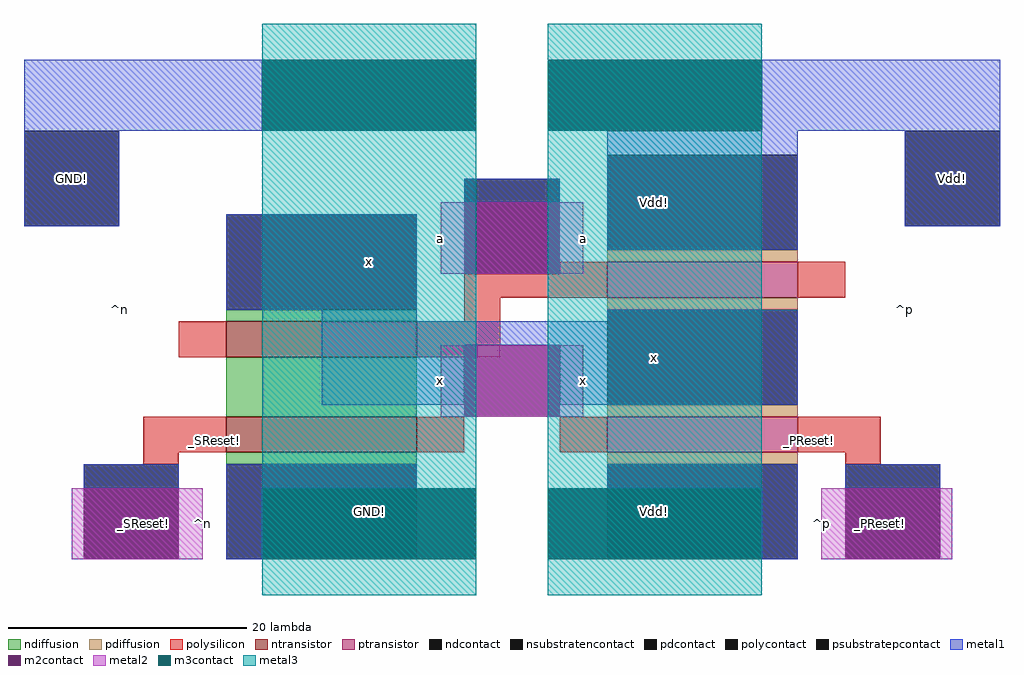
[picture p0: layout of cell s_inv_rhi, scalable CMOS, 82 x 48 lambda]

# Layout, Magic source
magic
tech scmos
<< ndiffusion >>
rect -24 4 -8 5
rect -24 -4 -8 1
rect -24 -8 -8 -7
<< pdiffusion >>
rect 8 9 24 10
rect 8 5 24 6
rect 8 -4 24 -3
rect 8 -8 24 -7
<< ntransistor >>
rect -24 1 -8 4
rect -24 -7 -8 -4
<< ptransistor >>
rect 8 6 24 9
rect 8 -7 24 -4
<< polysilicon >>
rect 4 8 8 9
rect -4 6 8 8
rect 24 6 28 9
rect -4 4 -1 6
rect -28 1 -24 4
rect -8 1 -1 4
rect -31 -7 -24 -4
rect -8 -7 -4 -4
rect 4 -7 8 -4
rect 24 -7 31 -4
rect -31 -8 -28 -7
rect 28 -8 31 -7
<< ndcontact >>
rect -24 5 -8 13
rect -24 -16 -8 -8
<< pdcontact >>
rect 8 10 24 18
rect 8 -3 24 5
rect 8 -16 24 -8
<< psubstratepcontact >>
rect -41 12 -33 20
<< nsubstratencontact >>
rect 33 12 41 20
<< polycontact >>
rect -4 8 4 16
rect -36 -16 -28 -8
rect 28 -16 36 -8
<< metal1 >>
rect -41 20 -21 26
rect 21 20 41 26
rect -41 12 -33 20
rect -4 14 4 16
rect -24 5 -8 13
rect 8 10 24 20
rect 33 12 41 20
rect -16 4 -8 5
rect 8 4 24 5
rect -16 2 24 4
rect -16 -3 -4 2
rect 4 -3 24 2
rect -36 -10 -28 -8
rect -24 -10 -8 -8
rect 8 -10 24 -8
rect -24 -16 -21 -10
rect 21 -16 24 -10
rect 28 -10 36 -8
<< m2contact >>
rect -21 20 -3 26
rect 3 20 21 26
rect -4 8 4 14
rect -4 -4 4 2
rect -36 -16 -28 -10
rect -21 -16 -3 -10
rect 3 -16 21 -10
rect 28 -16 36 -10
<< metal2 >>
rect -6 8 6 14
rect -6 -4 6 2
rect -37 -16 -26 -10
rect 26 -16 37 -10
<< m3contact >>
rect -21 20 -3 26
rect 3 20 21 26
rect -21 -16 -3 -10
rect 3 -16 21 -10
<< metal3 >>
rect -21 -19 -3 29
rect 3 -19 21 29
<< labels >>
rlabel metal2 6 8 6 14 7 a
rlabel metal2 -6 8 -6 14 3 a
rlabel ndcontact -12 9 -12 9 4 x
rlabel pdcontact 12 -12 12 -12 5 Vdd!
rlabel polysilicon 25 -6 25 -6 1 _PReset!
rlabel pdcontact 12 1 12 1 7 x
rlabel pdcontact 12 14 12 14 5 Vdd!
rlabel ndcontact -12 -12 -12 -12 5 GND!
rlabel polysilicon -25 -6 -25 -6 3 _SReset!
rlabel metal2 6 -4 6 2 7 x
rlabel metal2 -6 -4 -6 2 3 x
rlabel metal2 -31 -13 -31 -13 1 _SReset!
rlabel metal2 31 -13 31 -13 7 _PReset!
rlabel metal2 -26 -16 -26 -10 3 ^n
rlabel metal2 26 -16 26 -10 7 ^p
rlabel metal1 -37 16 -37 16 3 GND!
rlabel metal1 37 16 37 16 7 Vdd!
rlabel space 24 -17 42 27 3 ^p
rlabel space -42 -17 -24 27 7 ^n
<< end >>
